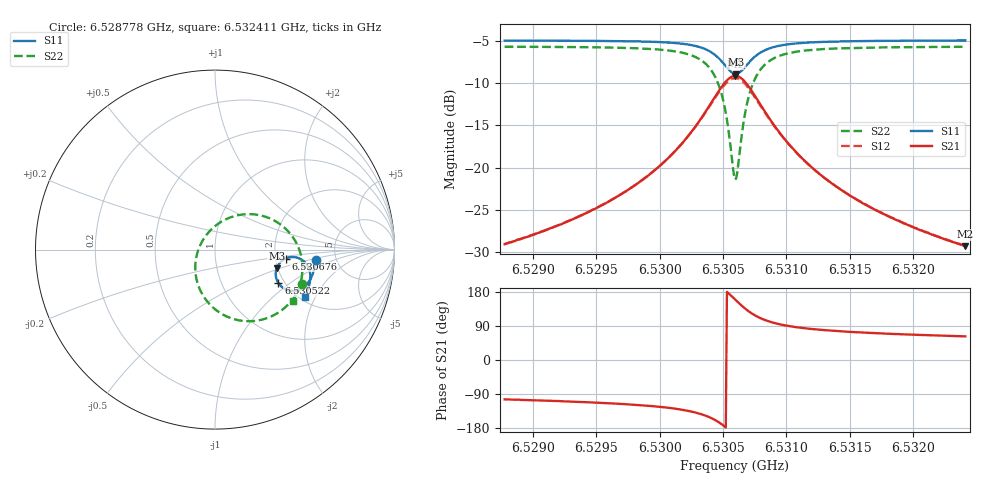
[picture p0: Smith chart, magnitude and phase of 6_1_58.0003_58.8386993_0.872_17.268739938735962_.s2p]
#  HZ  S  RI  R  50.00
! Rohde & Schwarz Vector Network Analyzer
! Rohde-Schwarz,ZNB20-2Port,1311601062101988,3.16
! Created: UTC 3/21/2024, 12:50:28 AM
! freq[Hz]  re:S11  im:S11  re:S21  im:S21  re:S12  im:S12  re:S22  im:S22
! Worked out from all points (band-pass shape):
!   401 points, 6.528778 GHz to 6.532411 GHz, reference 50 ohm
!   highest |S21| = -9.13 dB at 6.530594 GHz (marker M1); lowest = -29.3 dB at 6.532411 GHz (marker M2)
!   |S21| within 3 dB of the highest: 6.530415 GHz to 6.530778 GHz (362.8 kHz wide, 0.00556 % of centre)
!   lowest |S11| = -8.9 dB at 6.530603 GHz (marker M3), VSWR 2.12, Z = 98.6 - j23.5 ohm
!   |S11| at or under -10 dB: nowhere
!   |S22| runs from -21.4 to -5.7 dB; largest |S21 - S12| = 0.015
!   S11 on the Smith chart (normalised r, x): 6.528778 GHz: 3.48, -0.58; 6.530522 GHz: 1.86, -0.82; 6.530676 GHz: 2.27, -0.27; 6.532411 GHz: 2.11, -1.65
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6.5287777e9  0.5613 -0.0567  -0.00849 -0.0343  -0.00918 -0.0342  0.4831 -0.1904
6.5293862e9  0.552 -0.1099  -0.0188 -0.0491  -0.0199 -0.0488  0.4505 -0.2522
6.5297223e9  0.5415 -0.1435  -0.0319 -0.0642  -0.0337 -0.0635  0.4161 -0.297
6.5299948e9  0.5246 -0.1765  -0.056 -0.0848  -0.0583 -0.0831  0.362 -0.3446
6.5302128e9  0.4945 -0.209  -0.1032 -0.1089  -0.1067 -0.1051  0.2668 -0.3889
6.5303672e9  0.4447 -0.2289  -0.1835 -0.1166  -0.1862 -0.1083  0.1197 -0.391
6.5304581e9  0.3926 -0.2204  -0.2651 -0.0838  -0.2634 -0.0716  -0.0154 -0.3188
6.5304944e9  0.3689 -0.2047  -0.3007 -0.0494  -0.2956 -0.0368  -0.0678 -0.2534
6.5305216e9  0.353 -0.1859  -0.3229 -0.0123  -0.3146 -0.000594  -0.0973 -0.1872
6.5305761e9  0.3382 -0.1329  -0.3367 0.0846  -0.3236 0.0915  -0.1001 -0.0243
6.5305943e9  0.3408 -0.1133  -0.3285 0.1192  -0.3147 0.1234  -0.0797 0.0303
6.5306034e9  0.3436 -0.1038  -0.3218 0.1357  -0.3079 0.1387  -0.0658 0.056
6.5306216e9  0.3521 -0.0861  -0.3038 0.1661  -0.2906 0.1667  -0.0306 0.1022
6.5306761e9  0.393 -0.05  -0.2271 0.2257  -0.218 0.2219  0.1064 0.1862
6.5307124e9  0.4233 -0.0418  -0.1734 0.2385  -0.1671 0.2338  0.198 0.1975
6.5307487e9  0.4502 -0.0431  -0.1273 0.236  -0.123 0.2318  0.2752 0.1848
6.5308668e9  0.5028 -0.0727  -0.0384 0.1912  -0.0368 0.1893  0.4193 0.0884
6.530994e9  0.5235 -0.1067  -0.00267 0.1451  -0.00155 0.1444  0.4711 -0.00453
6.5312029e9  0.5313 -0.1471  0.0145 0.0989  0.0156 0.0987  0.4875 -0.1005
6.5314845e9  0.5279 -0.1846  0.0185 0.0673  0.0196 0.067  0.4796 -0.173
6.5318115e9  0.5191 -0.2176  0.0183 0.0481  0.019 0.0477  0.4636 -0.2247
6.532411e9  0.4988 -0.2666  0.016 0.0304  0.0166 0.0303  0.4329 -0.2859
